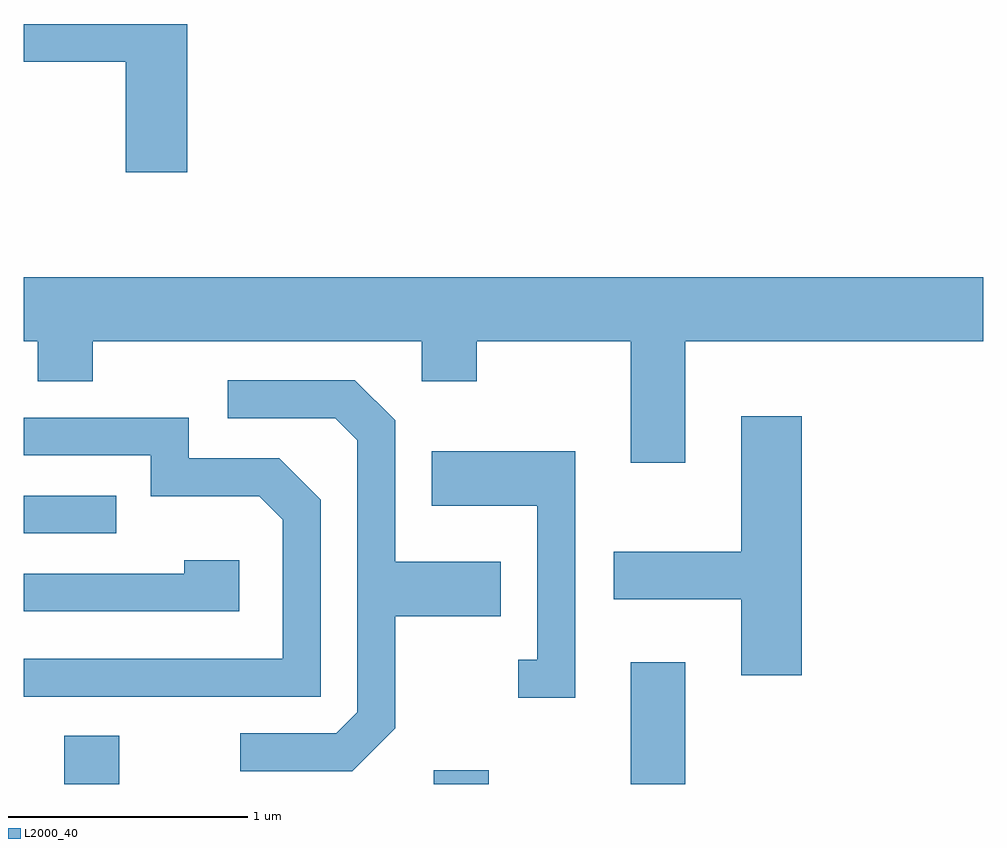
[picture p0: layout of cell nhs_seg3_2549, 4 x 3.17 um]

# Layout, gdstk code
import gdstk
lib = gdstk.Library(unit=1e-6, precision=1e-09)
def R(c, l, rs):  # rectangles x0, y0, x1, y1
    for r in rs: c.add(gdstk.rectangle(r[:2], r[2:], *l))
def P(c, l, *ps):  # polygons
    for p in ps: c.add(gdstk.Polygon(p, *l))
L2000_40 = (2000, 40)

nhs_seg3_2549 = lib.new_cell('nhs_seg3_2549')
R(nhs_seg3_2549, L2000_40, [(259.781,1181.892,260.009,1182.094), (261.321,1181.892,261.549,1181.949), (262.141,1181.892,262.369,1182.399), (259.611,1182.936,259.998,1183.094)])
P(nhs_seg3_2549, L2000_40, [(260.294,1185.059),(259.611,1185.059),(259.611,1184.901),(260.036,1184.901),(260.036,1184.441),(260.294,1184.441)],
  [(262.369,1183.736),(263.611,1183.736),(263.611,1184.004),(259.611,1184.004),(259.611,1183.736),(259.671,1183.736),(259.671,1183.571),(259.899,1183.571),(259.899,1183.736),(261.271,1183.736),(261.271,1183.571),(261.499,1183.571),(261.499,1183.736),(262.141,1183.736),(262.141,1183.231),(262.369,1183.231)],
  [(261.159,1182.124),(261.159,1182.591),(261.599,1182.591),(261.599,1182.819),(261.159,1182.819),(261.159,1183.407),(260.992,1183.574),(260.462,1183.574),(260.462,1183.416),(260.909,1183.416),(261.001,1183.324),(261.001,1182.192),(260.914,1182.104),(260.513,1182.104),(260.513,1181.946),(260.981,1181.946)],
  [(262.854,1183.424),(262.601,1183.424),(262.601,1182.859),(262.071,1182.859),(262.071,1182.661),(262.601,1182.661),(262.601,1182.346),(262.854,1182.346)],
  [(260.849,1183.077),(260.677,1183.249),(260.299,1183.249),(260.299,1183.419),(259.611,1183.419),(259.611,1183.261),(260.141,1183.261),(260.141,1183.091),(260.594,1183.091),(260.691,1182.994),(260.691,1182.414),(259.611,1182.414),(259.611,1182.256),(260.849,1182.256)],
  [(261.909,1183.279),(261.311,1183.279),(261.311,1183.051),(261.751,1183.051),(261.751,1182.409),(261.673,1182.409),(261.673,1182.251),(261.909,1182.251)],
  [(260.509,1182.824),(260.281,1182.824),(260.281,1182.769),(259.611,1182.769),(259.611,1182.611),(260.509,1182.611)])

lib.write_gds('nhs_seg3_2549.gds')
